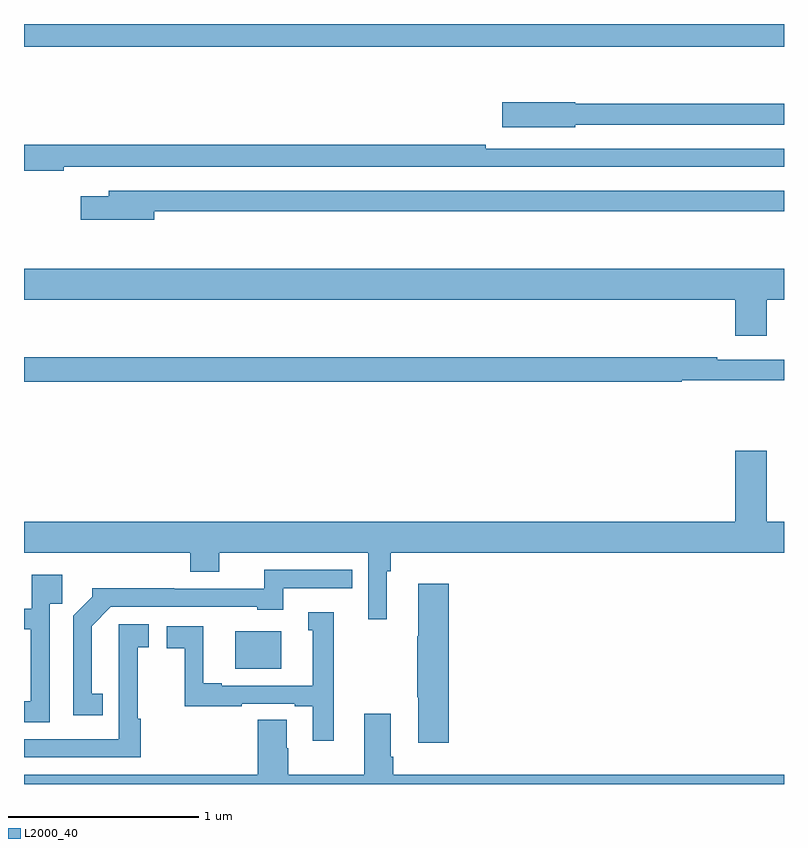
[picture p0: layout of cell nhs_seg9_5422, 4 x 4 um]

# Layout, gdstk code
import gdstk
lib = gdstk.Library(unit=1e-6, precision=1e-09)
def R(c, l, rs):  # rectangles x0, y0, x1, y1
    for r in rs: c.add(gdstk.rectangle(r[:2], r[2:], *l))
def P(c, l, *ps):  # polygons
    for p in ps: c.add(gdstk.Polygon(p, *l))
L2000_40 = (2000, 40)

nhs_seg9_5422 = lib.new_cell('nhs_seg9_5422')
R(nhs_seg9_5422, L2000_40, [(426.113,1233.107,426.355,1233.304), (425,1236.38,429,1236.5)])
P(nhs_seg9_5422, L2000_40, [(427.902,1235.97),(429,1235.97),(429,1236.079),(427.902,1236.079),(427.902,1236.087),(427.518,1236.087),(427.518,1235.957),(427.902,1235.957)],
  [(425.21,1235.748),(429,1235.748),(429,1235.844),(427.43,1235.844),(427.43,1235.864),(425,1235.864),(425,1235.728),(425.21,1235.728)],
  [(425.686,1235.514),(429,1235.514),(429,1235.622),(425.447,1235.622),(425.447,1235.593),(425.298,1235.593),(425.298,1235.471),(425.686,1235.471)],
  [(428.908,1235.048),(429,1235.048),(429,1235.212),(425,1235.212),(425,1235.048),(428.744,1235.048),(428.744,1234.86),(428.908,1234.86)],
  [(428.462,1234.626),(429,1234.626),(429,1234.734),(428.648,1234.734),(428.648,1234.747),(425,1234.747),(425,1234.618),(428.462,1234.618)],
  [(426.91,1233.62),(426.929,1233.62),(426.929,1233.716),(429,1233.716),(429,1233.88),(428.908,1233.88),(428.908,1234.255),(428.744,1234.255),(428.744,1233.88),(425,1233.88),(425,1233.716),(425.876,1233.716),(425.876,1233.617),(426.028,1233.617),(426.028,1233.716),(426.813,1233.716),(426.813,1233.366),(426.91,1233.366)],
  [(425.414,1232.975),(425.356,1232.975),(425.356,1233.331),(425.457,1233.432),(426.228,1233.432),(426.228,1233.416),(426.364,1233.416),(426.364,1233.531),(426.728,1233.531),(426.728,1233.627),(426.265,1233.627),(426.265,1233.528),(425.792,1233.528),(425.792,1233.53),(425.358,1233.53),(425.358,1233.485),(425.259,1233.386),(425.259,1232.862),(425.414,1232.862)],
  [(425.136,1233.449),(425.201,1233.449),(425.201,1233.601),(425.04,1233.601),(425.04,1233.423),(425,1233.423),(425,1233.315),(425.035,1233.315),(425.035,1232.935),(425,1232.935),(425,1232.826),(425.136,1232.826)],
  [(427.235,1233.553),(427.076,1233.553),(427.076,1233.278),(427.069,1233.278),(427.069,1232.956),(427.076,1232.956),(427.076,1232.718),(427.235,1232.718)],
  [(426.631,1233.403),(426.497,1233.403),(426.497,1233.309),(426.521,1233.309),(426.521,1233.018),(426.04,1233.018),(426.04,1233.031),(425.944,1233.031),(425.944,1233.33),(425.751,1233.33),(425.751,1233.214),(425.845,1233.214),(425.845,1232.91),(426.146,1232.91),(426.146,1232.922),(426.425,1232.922),(426.425,1232.91),(426.521,1232.91),(426.521,1232.727),(426.631,1232.727)],
  [(425.615,1232.843),(425.598,1232.843),(425.598,1233.219),(425.656,1233.219),(425.656,1233.34),(425.498,1233.34),(425.498,1233.064),(425.499,1233.064),(425.499,1232.736),(425,1232.736),(425,1232.64),(425.615,1232.64)],
  [(429,1232.548),(426.944,1232.548),(426.944,1232.644),(426.931,1232.644),(426.931,1232.869),(426.791,1232.869),(426.791,1232.548),(426.39,1232.548),(426.39,1232.687),(426.382,1232.687),(426.382,1232.837),(426.23,1232.837),(426.23,1232.548),(425,1232.548),(425,1232.5),(429,1232.5)])

lib.write_gds('nhs_seg9_5422.gds')
